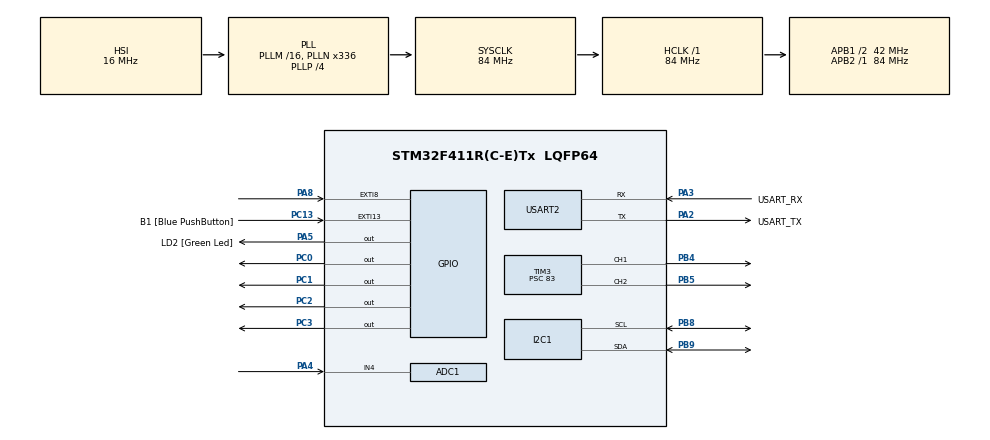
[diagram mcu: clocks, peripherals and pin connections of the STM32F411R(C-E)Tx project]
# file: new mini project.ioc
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ADC1.Channel-0\#ChannelRegularConversion=ADC_CHANNEL_4
ADC1.ClockPrescaler=ADC_CLOCK_SYNC_PCLK_DIV8
ADC1.NbrOfConversionFlag=1
ADC1.Rank-0\#ChannelRegularConversion=1
ADC1.SamplingTime-0\#ChannelRegularConversion=ADC_SAMPLETIME_144CYCLES
ADC1.master=1
FREERTOS.Tasks01=defaultTask,24,128,StartDefaultTask,Default,NULL,Dynamic,NULL,NULL;LcdTask,8,128,StartTask02,Default,NULL,Dynamic,NULL,NULL;ServoTask,24,128,StartTask03,Default,NULL,Dynamic,NULL,NULL
FREERTOS.configUSE_NEWLIB_REENTRANT=1
Mcu.Family=STM32F4
Mcu.Name=STM32F411R(C-E)Tx
Mcu.Package=LQFP64
NVIC.EXTI15_10_IRQn=true\:5\:0\:false\:false\:true\:true\:true\:true\:true
NVIC.EXTI9_5_IRQn=true\:5\:0\:false\:false\:true\:true\:true\:true\:true
NVIC.PriorityGroup=NVIC_PRIORITYGROUP_4
NVIC.TIM1_BRK_TIM9_IRQn=true\:15\:0\:false\:false\:true\:false\:false\:true\:true
NVIC.TIM4_IRQn=true\:5\:0\:false\:false\:true\:true\:true\:true\:true
NVIC.TimeBase=TIM1_BRK_TIM9_IRQn
NVIC.TimeBaseIP=TIM9
NVIC.USART2_IRQn=true\:5\:0\:false\:false\:true\:true\:true\:true\:true
PA13.GPIO_Label=TMS
PA13.Mode=Serial_Wire
PA13.Signal=SYS_JTMS-SWDIO
PA14.GPIO_Label=TCK
PA14.Mode=Serial_Wire
PA14.Signal=SYS_JTCK-SWCLK
PA2.GPIO_Label=USART_TX
PA2.Mode=Asynchronous
PA2.Signal=USART2_TX
PA3.GPIO_Label=USART_RX
PA3.Mode=Asynchronous
PA3.Signal=USART2_RX
PA4.Signal=ADCx_IN4
PA5.GPIO_Label=LD2 [Green Led]
PA5.Signal=GPIO_Output
PA8.Signal=GPXTI8
PB3.GPIO_Label=SWO
PB3.Signal=SYS_JTDO-SWO
PB4.Signal=S_TIM3_CH1
PB5.Signal=S_TIM3_CH2
PB8.Mode=I2C
PB8.Signal=I2C1_SCL
PB9.Mode=I2C
PB9.Signal=I2C1_SDA
PC0.Signal=GPIO_Output
PC1.Signal=GPIO_Output
PC13-ANTI_TAMP.GPIO_Label=B1 [Blue PushButton]
PC13-ANTI_TAMP.GPIO_ModeDefaultEXTI=GPIO_MODE_IT_FALLING
PC13-ANTI_TAMP.Signal=GPXTI13
PC14-OSC32_IN.Mode=LSE-External-Oscillator
PC14-OSC32_IN.Signal=RCC_OSC32_IN
PC15-OSC32_OUT.Mode=LSE-External-Oscillator
PC15-OSC32_OUT.Signal=RCC_OSC32_OUT
PC2.Signal=GPIO_Output
PC3.Signal=GPIO_Output
PH0\ -\ OSC_IN.Mode=HSE-External-Clock-Source
PH0\ -\ OSC_IN.Signal=RCC_OSC_IN
PH1\ -\ OSC_OUT.Mode=HSE-External-Clock-Source
PH1\ -\ OSC_OUT.Signal=RCC_OSC_OUT
ProjectManager.HeapSize=0x200
ProjectManager.StackSize=0x400
ProjectManager.TargetToolchain=STM32CubeIDE
RCC.48MHZClocksFreq_Value=84000000
RCC.AHBFreq_Value=84000000
RCC.APB1CLKDivider=RCC_HCLK_DIV2
RCC.APB1Freq_Value=42000000
RCC.APB1TimFreq_Value=84000000
RCC.APB2Freq_Value=84000000
RCC.APB2TimFreq_Value=84000000
RCC.CortexFreq_Value=84000000
RCC.FLatency-AdvancedSettings=FLASH_LATENCY_2
RCC.HCLKFreq_Value=84000000
RCC.HSE_VALUE=8000000
RCC.HSI_VALUE=16000000
RCC.PLLN=336
RCC.PLLP=RCC_PLLP_DIV4
RCC.SYSCLKFreq_VALUE=84000000
RCC.SYSCLKSource=RCC_SYSCLKSOURCE_PLLCLK
RCC.VCOOutputFreq_Value=336000000
SH.ADCx_IN4.0=ADC1_IN4,IN4
SH.S_TIM3_CH1.0=TIM3_CH1,PWM Generation1 CH1
SH.S_TIM3_CH2.0=TIM3_CH2,PWM Generation2 CH2
TIM3.Channel-PWM\ Generation1\ CH1=TIM_CHANNEL_1
TIM3.Channel-PWM\ Generation2\ CH2=TIM_CHANNEL_2
TIM3.Period=20000
TIM3.Prescaler=83
TIM3.Pulse-PWM\ Generation1\ CH1=1500
TIM3.Pulse-PWM\ Generation2\ CH2=1500
USART2.VirtualMode=VM_ASYNC
VP_FREERTOS_VS_CMSIS_V2.Mode=CMSIS_V2
VP_SYS_VS_tim9.Mode=TIM9
VP_TIM4_VS_ClockSourceINT.Mode=Internal
board=NUCLEO-F411RE

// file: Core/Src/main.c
/* USER CODE BEGIN Header */
/**
  ******************************************************************************
  * @file           : main.c
  * @brief          : Main program body (Rain mm integer display)
  ******************************************************************************
  */
/* USER CODE END Header */
#include "main.h"
#include "cmsis_os.h"

/* USER CODE BEGIN Includes */
#include "i2c-lcd.h"
#include <stdio.h>
#include <string.h>
/* USER CODE END Includes */

/* USER CODE BEGIN PD */
#define NORMAL_RAIN_MM    15.0f    // 보통 비(mm)
#define WARNING_RAIN_MM   34.0f    // 폭우 경고(mm)
#define SENSOR_MAX_MM     40.0f    // 빨간 수위센서 측정 최대 높이(mm)
#define IR_PIN GPIO_PIN_8
#define IR_PORT GPIOA
/* USER CODE END PD */

ADC_HandleTypeDef hadc1;
I2C_HandleTypeDef hi2c1;
TIM_HandleTypeDef htim3;
UART_HandleTypeDef huart2;
TIM_HandleTypeDef htim4;
/* FreeRTOS thread handles */
osThreadId_t lcdTaskHandle;
osThreadId_t servoTaskHandle;

/* USER CODE BEGIN PV */
float rain_mm = 0.0f;
float smooth_rain_mm = 0.0f;
char line1[17];
char line2[17];
int flood_counter = 0;
volatile uint8_t barrier_up = 0;    // 1 if barrier is raised, 0 if lowered
volatile uint8_t manual_mode = 0;   // 1 if IR manual override is active, 0 if in automatic mode
volatile uint8_t ir_ready = 0;
volatile uint32_t ir_timings[100];
volatile uint8_t ir_index = 0;
volatile uint32_t last_edge_time = 0;
volatile uint32_t last_ir_code = 0;
/* USER CODE END PV */

void SystemClock_Config(void);
static void MX_GPIO_Init(void);
static void MX_ADC1_Init(void);
static void MX_I2C1_Init(void);
static void MX_TIM3_Init(void);
static void MX_TIM4_Init(void);
static void MX_USART2_UART_Init(void);
void StartLcdTask(void *argument);
void StartWaterTask(void *argument);
void StartIrTask(void *argument);
uint32_t decode_nec_signal(void);
void set_servo_angle(uint8_t angle);
float read_rain_mm(void);
float read_smoothed_rain_mm(void);
void lcd_display_rain(const char* status);
/* USER CODE BEGIN 0 */
uint32_t decode_nec_signal()
{
    // NEC protocol requires ~68 timing edges (including leader and spaces)
       if (ir_index < 68 || ir_index > 100) {
           return 0xFFFFFFFF;
       }
       uint32_t data = 0;
       for (int i = 0; i < 32; i++) {
           uint32_t t = ir_timings[17 + i];
           // Logical 1: typically ~1.6-2.4 ms high pulse
           if (t > 1400) {
               data |= (1UL << (31 - i));
           }
           // Logical 0: typically ~0.5 ms high pulse
           else if (t > 200 && t <= 1400) {
               // bit remains 0 (do nothing)
           }
           // Timing out of range: error
           else {
               return 0xFFFFFFFF;
           }
       }
       return data;
}
/* 서보 각도 제어 */

void set_servo_angle(uint8_t angle) {
    uint32_t pulse = ((angle * 2000) / 180) + 500; // Map 0-180° to 500-2500us pulse
    __HAL_TIM_SET_COMPARE(&htim3, TIM_CHANNEL_1, pulse);
    __HAL_TIM_SET_COMPARE(&htim3, TIM_CHANNEL_2, pulse);
}

/* 센서 값 읽고 mm 변환 */

float read_rain_mm() {
    HAL_ADC_Start(&hadc1);
    HAL_ADC_PollForConversion(&hadc1, HAL_MAX_DELAY);
    uint16_t raw = HAL_ADC_GetValue(&hadc1);
    if (raw > 4000) raw = 4000;  // clamp to max expected ADC value
    return (raw / 4095.0f) * SENSOR_MAX_MM;
}
float read_smoothed_rain_mm() {
    float current = read_rain_mm();
    // 80% previous value + 20% new value for smoothing
    smooth_rain_mm = (smooth_rain_mm * 0.8f) + (current * 0.2f);
    return smooth_rain_mm;
}
/* LCD에 강수량 표시 (정수 버전) */
void lcd_display_rain(const char* status) {
    int rain_int = (int)rain_mm; // truncate to integer mm
    sprintf(line1, "Rain: %3d mm", rain_int);
    sprintf(line2, "Status: %s", status);
    lcd_put_cur(0, 0);
    lcd_send_string(line1);
    lcd_put_cur(1, 0);
    lcd_send_string(line2);
}

/* LCD Task */
void StartLcdTask(void *argument) {
  /* USER CODE BEGIN StartLcdTask */
  for (;;) {
    rain_mm = read_smoothed_rain_mm();
    if (rain_mm < NORMAL_RAIN_MM) {
        lcd_display_rain("NORMAL");
    } else if (rain_mm < WARNING_RAIN_MM) {
        lcd_display_rain("WARNING");
    } else {
        lcd_display_rain("!!FLOOD!!");
    }
    osDelay(1000);
  }
  /* USER CODE END StartLcdTask */
}

/* Servo Task */
void StartWaterTask(void *argument) {
  /* USER CODE BEGIN StartWaterTask */
  for (;;) {
    rain_mm = read_smoothed_rain_mm();

    if (!manual_mode) {
      // Automatic control active only when not in manual override
      if (rain_mm >= WARNING_RAIN_MM) {
        // Heavy rain: raise barrier if not already up
        if (!barrier_up) {
          set_servo_angle(90);           // raise barrier
          barrier_up = 1;
          // Activate flood indicators
          HAL_GPIO_WritePin(GPIOC, GPIO_PIN_2, GPIO_PIN_SET);   // Red LED ON
          HAL_GPIO_WritePin(GPIOC, GPIO_PIN_3, GPIO_PIN_SET);   // Buzzer ON
        }
      } else if (rain_mm < NORMAL_RAIN_MM) {
        // Light rain/normal: lower barrier if it was up
        if (barrier_up) {
          set_servo_angle(0);            // lower barrier
          barrier_up = 0;
          // Deactivate flood indicators
          HAL_GPIO_WritePin(GPIOC, GPIO_PIN_2, GPIO_PIN_RESET); // Red LED OFF
          HAL_GPIO_WritePin(GPIOC, GPIO_PIN_3, GPIO_PIN_RESET); // Buzzer OFF
        }
      }
      // (If rain is in between NORMAL_RAIN_MM and WARNING_RAIN_MM, barrier state remains as is.)
    }

    // Status LEDs for rain level (Green/Yellow).
    // If in manual mode with barrier up, override status LEDs to off (red LED indicates manual override/heavy state).
    if (manual_mode && barrier_up) {
      HAL_GPIO_WritePin(GPIOC, GPIO_PIN_0, GPIO_PIN_RESET); // Green OFF
      HAL_GPIO_WritePin(GPIOC, GPIO_PIN_1, GPIO_PIN_RESET); // Yellow OFF
    } else {
      if (rain_mm < NORMAL_RAIN_MM) {
        HAL_GPIO_WritePin(GPIOC, GPIO_PIN_0, GPIO_PIN_SET);    // Green ON (safe)
        HAL_GPIO_WritePin(GPIOC, GPIO_PIN_1, GPIO_PIN_RESET);  // Yellow OFF
      } else if (rain_mm < WARNING_RAIN_MM) {
        HAL_GPIO_WritePin(GPIOC, GPIO_PIN_0, GPIO_PIN_RESET);  // Green OFF
        HAL_GPIO_WritePin(GPIOC, GPIO_PIN_1, GPIO_PIN_SET);    // Yellow ON (warning)
      } else {
        HAL_GPIO_WritePin(GPIOC, GPIO_PIN_0, GPIO_PIN_RESET);  // Green OFF
        HAL_GPIO_WritePin(GPIOC, GPIO_PIN_1, GPIO_PIN_RESET);  // Yellow OFF (flood, red is handled above)
      }
    }

    osDelay(100);  // small delay for loop
  }
  /* USER CODE END StartWaterTask */
}

void StartIrTask(void *argument) {
  /* USER CODE BEGIN StartIrTask */
  for (;;) {
    if (ir_ready) {
      // An IR code has been captured by the interrupt
      ir_ready = 0;
      uint32_t code = decode_nec_signal();
      ir_index = 0;
      if (code != 0xFFFFFFFF && code != last_ir_code) {
        // New valid IR code received (filter out repeats)
        last_ir_code = code;
        if (!manual_mode) {
          manual_mode = 1;  // enter manual mode on first IR command
        }
        // Toggle barrier state on IR command
        if (!barrier_up) {
          // Barrier is currently down -> raise it via remote
          set_servo_angle(90);
          barrier_up = 1;
          // Turn off green/yellow, turn on red LED and buzzer for manual raise
          HAL_GPIO_WritePin(GPIOC, GPIO_PIN_0, GPIO_PIN_RESET); // Green OFF
          HAL_GPIO_WritePin(GPIOC, GPIO_PIN_1, GPIO_PIN_RESET); // Yellow OFF
          HAL_GPIO_WritePin(GPIOC, GPIO_PIN_2, GPIO_PIN_SET);   // Red ON
          HAL_GPIO_WritePin(GPIOC, GPIO_PIN_3, GPIO_PIN_SET);   // Buzzer ON
        } else {
          // Barrier is currently up -> lower it via remote
          set_servo_angle(0);
          barrier_up = 0;
          // Turn off red LED and buzzer for manual lower
          HAL_GPIO_WritePin(GPIOC, GPIO_PIN_2, GPIO_PIN_RESET); // Red OFF
          HAL_GPIO_WritePin(GPIOC, GPIO_PIN_3, GPIO_PIN_RESET); // Buzzer OFF
        }
        // If barrier has been lowered by remote, exit manual mode (return to automatic)
        if (barrier_up == 0) {
          manual_mode = 0;
        }
      }
    }
    osDelay(50);  // short polling delay
  }
  /* USER CODE END StartIrTask */
}
/* USER CODE END 0 */

/* Main function */
int main(void) {
    HAL_Init();
    SystemClock_Config();

    MX_GPIO_Init();
    MX_ADC1_Init();
    MX_I2C1_Init();
    MX_TIM3_Init();
    MX_TIM4_Init();
    MX_USART2_UART_Init();

    HAL_TIM_Base_Start(&htim4);

    lcd_init();
    HAL_TIM_PWM_Start(&htim3, TIM_CHANNEL_1);
    HAL_TIM_PWM_Start(&htim3, TIM_CHANNEL_2);

    osKernelInitialize();
    lcdTaskHandle   = osThreadNew(StartLcdTask, NULL, NULL);  // LCD task
    servoTaskHandle = osThreadNew(StartWaterTask, NULL, NULL); // 센서(자동) task
    osThreadNew(StartIrTask, NULL, NULL); // IR(수동) task 따로 등록
    osKernelStart();

    while (1) {}
}

  /* USER CODE END 3 */

void SystemClock_Config(void)
{
  RCC_OscInitTypeDef RCC_OscInitStruct = {0};
  RCC_ClkInitTypeDef RCC_ClkInitStruct = {0};

  /** Configure the main internal regulator output voltage
  */
  __HAL_RCC_PWR_CLK_ENABLE();
  __HAL_PWR_VOLTAGESCALING_CONFIG(PWR_REGULATOR_VOLTAGE_SCALE1);

  /** Initializes the RCC Oscillators according to the specified parameters
  * in the RCC_OscInitTypeDef structure.
  */
  RCC_OscInitStruct.OscillatorType = RCC_OSCILLATORTYPE_HSI;
  RCC_OscInitStruct.HSIState = RCC_HSI_ON;
  RCC_OscInitStruct.HSICalibrationValue = RCC_HSICALIBRATION_DEFAULT;
  RCC_OscInitStruct.PLL.PLLState = RCC_PLL_ON;
  RCC_OscInitStruct.PLL.PLLSource = RCC_PLLSOURCE_HSI;
  RCC_OscInitStruct.PLL.PLLM = 16;
  RCC_OscInitStruct.PLL.PLLN = 336;
  RCC_OscInitStruct.PLL.PLLP = RCC_PLLP_DIV4;
  RCC_OscInitStruct.PLL.PLLQ = 4;
  if (HAL_RCC_OscConfig(&RCC_OscInitStruct) != HAL_OK)
  {
    Error_Handler();
  }

  /** Initializes the CPU, AHB and APB buses clocks
  */
  RCC_ClkInitStruct.ClockType = RCC_CLOCKTYPE_HCLK|RCC_CLOCKTYPE_SYSCLK
                              |RCC_CLOCKTYPE_PCLK1|RCC_CLOCKTYPE_PCLK2;
  RCC_ClkInitStruct.SYSCLKSource = RCC_SYSCLKSOURCE_PLLCLK;
  RCC_ClkInitStruct.AHBCLKDivider = RCC_SYSCLK_DIV1;
  RCC_ClkInitStruct.APB1CLKDivider = RCC_HCLK_DIV2;
  RCC_ClkInitStruct.APB2CLKDivider = RCC_HCLK_DIV1;

  if (HAL_RCC_ClockConfig(&RCC_ClkInitStruct, FLASH_LATENCY_2) != HAL_OK)
  {
    Error_Handler();
  }
}

static void MX_ADC1_Init(void)
{

  ADC_ChannelConfTypeDef sConfig = {0};

  /** Configure the global features of the ADC (Clock, Resolution, Data Alignment and number of conversion)
  */
  hadc1.Instance = ADC1;
  hadc1.Init.ClockPrescaler = ADC_CLOCK_SYNC_PCLK_DIV4;
  hadc1.Init.Resolution = ADC_RESOLUTION_12B;
  hadc1.Init.ScanConvMode = DISABLE;
  hadc1.Init.ContinuousConvMode = DISABLE;
  hadc1.Init.DiscontinuousConvMode = DISABLE;
  hadc1.Init.ExternalTrigConvEdge = ADC_EXTERNALTRIGCONVEDGE_NONE;
  hadc1.Init.ExternalTrigConv = ADC_SOFTWARE_START;
  hadc1.Init.DataAlign = ADC_DATAALIGN_RIGHT;
  hadc1.Init.NbrOfConversion = 1;
  hadc1.Init.DMAContinuousRequests = DISABLE;
  hadc1.Init.EOCSelection = ADC_EOC_SINGLE_CONV;
  if (HAL_ADC_Init(&hadc1) != HAL_OK)
  {
    Error_Handler();
  }

  /** Configure for the selected ADC regular channel its corresponding rank in the sequencer and its sample time.
  */
  sConfig.Channel = ADC_CHANNEL_4;
  sConfig.Rank = 1;
  sConfig.SamplingTime = ADC_SAMPLETIME_3CYCLES;
  if (HAL_ADC_ConfigChannel(&hadc1, &sConfig) != HAL_OK)
  {
    Error_Handler();
  }

}

static void MX_I2C1_Init(void)
{

  hi2c1.Instance = I2C1;
  hi2c1.Init.ClockSpeed = 100000;
  hi2c1.Init.DutyCycle = I2C_DUTYCYCLE_2;
  hi2c1.Init.OwnAddress1 = 0;
  hi2c1.Init.AddressingMode = I2C_ADDRESSINGMODE_7BIT;
  hi2c1.Init.DualAddressMode = I2C_DUALADDRESS_DISABLE;
  hi2c1.Init.OwnAddress2 = 0;
  hi2c1.Init.GeneralCallMode = I2C_GENERALCALL_DISABLE;
  hi2c1.Init.NoStretchMode = I2C_NOSTRETCH_DISABLE;
  if (HAL_I2C_Init(&hi2c1) != HAL_OK)
  {
    Error_Handler();
  }

}

static void MX_TIM3_Init(void)
{

  TIM_MasterConfigTypeDef sMasterConfig = {0};
  TIM_OC_InitTypeDef sConfigOC = {0};

  htim3.Instance = TIM3;
  htim3.Init.Prescaler = 83;
  htim3.Init.CounterMode = TIM_COUNTERMODE_UP;
  htim3.Init.Period = 20000;
  htim3.Init.ClockDivision = TIM_CLOCKDIVISION_DIV1;
  htim3.Init.AutoReloadPreload = TIM_AUTORELOAD_PRELOAD_DISABLE;
  if (HAL_TIM_PWM_Init(&htim3) != HAL_OK)
  {
    Error_Handler();
  }
  sMasterConfig.MasterOutputTrigger = TIM_TRGO_RESET;
  sMasterConfig.MasterSlaveMode = TIM_MASTERSLAVEMODE_DISABLE;
  if (HAL_TIMEx_MasterConfigSynchronization(&htim3, &sMasterConfig) != HAL_OK)
  {
    Error_Handler();
  }
  sConfigOC.OCMode = TIM_OCMODE_PWM1;
  sConfigOC.Pulse = 1500;
  sConfigOC.OCPolarity = TIM_OCPOLARITY_HIGH;
  sConfigOC.OCFastMode = TIM_OCFAST_DISABLE;
  if (HAL_TIM_PWM_ConfigChannel(&htim3, &sConfigOC, TIM_CHANNEL_1) != HAL_OK)
  {
    Error_Handler();
  }
  if (HAL_TIM_PWM_ConfigChannel(&htim3, &sConfigOC, TIM_CHANNEL_2) != HAL_OK)
  {
    Error_Handler();
  }
  HAL_TIM_MspPostInit(&htim3);

}

static void MX_TIM4_Init(void)
{
    __HAL_RCC_TIM4_CLK_ENABLE();

    htim4.Instance = TIM4;
    htim4.Init.Prescaler = 83;
    htim4.Init.CounterMode = TIM_COUNTERMODE_UP;
    htim4.Init.Period = 0xFFFF;
    htim4.Init.ClockDivision = TIM_CLOCKDIVISION_DIV1;
    htim4.Init.AutoReloadPreload = TIM_AUTORELOAD_PRELOAD_DISABLE;
    if (HAL_TIM_Base_Init(&htim4) != HAL_OK)
    {
        Error_Handler();
    }
}
static void MX_USART2_UART_Init(void)
{

  huart2.Instance = USART2;
  huart2.Init.BaudRate = 115200;
  huart2.Init.WordLength = UART_WORDLENGTH_8B;
  huart2.Init.StopBits = UART_STOPBITS_1;
  huart2.Init.Parity = UART_PARITY_NONE;
  huart2.Init.Mode = UART_MODE_TX_RX;
  huart2.Init.HwFlowCtl = UART_HWCONTROL_NONE;
  huart2.Init.OverSampling = UART_OVERSAMPLING_16;
  if (HAL_UART_Init(&huart2) != HAL_OK)
  {
    Error_Handler();
  }

}

static void MX_GPIO_Init(void)
{
  GPIO_InitTypeDef GPIO_InitStruct = {0};

  /* GPIO Ports Clock Enable */
  __HAL_RCC_GPIOC_CLK_ENABLE();
  __HAL_RCC_GPIOH_CLK_ENABLE();
  __HAL_RCC_GPIOA_CLK_ENABLE();
  __HAL_RCC_GPIOB_CLK_ENABLE();

  /*Configure GPIO pin Output Level */
  HAL_GPIO_WritePin(GPIOC, GPIO_PIN_0|GPIO_PIN_1|GPIO_PIN_2|GPIO_PIN_3, GPIO_PIN_RESET);

  /*Configure GPIO pin Output Level */
  HAL_GPIO_WritePin(LD2_GPIO_Port, LD2_Pin, GPIO_PIN_RESET);

  /*Configure GPIO pin : B1_Pin */
  GPIO_InitStruct.Pin = B1_Pin;
  GPIO_InitStruct.Mode = GPIO_MODE_IT_FALLING;
  GPIO_InitStruct.Pull = GPIO_NOPULL;
  HAL_GPIO_Init(B1_GPIO_Port, &GPIO_InitStruct);

  /*Configure GPIO pins : PC0 PC1 PC2 PC3 */
  GPIO_InitStruct.Pin = GPIO_PIN_0|GPIO_PIN_1|GPIO_PIN_2|GPIO_PIN_3;
  GPIO_InitStruct.Mode = GPIO_MODE_OUTPUT_PP;
  GPIO_InitStruct.Pull = GPIO_NOPULL;
  GPIO_InitStruct.Speed = GPIO_SPEED_FREQ_LOW;
  HAL_GPIO_Init(GPIOC, &GPIO_InitStruct);

  /*Configure GPIO pin : LD2_Pin */
  GPIO_InitStruct.Pin = LD2_Pin;
  GPIO_InitStruct.Mode = GPIO_MODE_OUTPUT_PP;
  GPIO_InitStruct.Pull = GPIO_NOPULL;
  GPIO_InitStruct.Speed = GPIO_SPEED_FREQ_LOW;
  HAL_GPIO_Init(LD2_GPIO_Port, &GPIO_InitStruct);

  /* Configure IR Receiver Pin (PA8) as EXTI */
  GPIO_InitStruct.Pin = IR_PIN;
  GPIO_InitStruct.Mode = GPIO_MODE_IT_FALLING;
  GPIO_InitStruct.Pull = GPIO_PULLUP;  // 보통 IR 수신기 출력은 오픈컬렉터
  HAL_GPIO_Init(IR_PORT, &GPIO_InitStruct);

  HAL_NVIC_SetPriority(EXTI9_5_IRQn, 5, 0);
  HAL_NVIC_EnableIRQ(EXTI9_5_IRQn);
}

/* USER CODE BEGIN 4 */
void HAL_GPIO_EXTI_Callback(uint16_t GPIO_Pin) {
  /* USER CODE BEGIN HAL_GPIO_EXTI_Callback */
  if (GPIO_Pin == IR_PIN) {
    // IR receiver falling edge interrupt
    uint32_t now = __HAL_TIM_GET_COUNTER(&htim4);
    uint32_t duration = (now >= last_edge_time) ? (now - last_edge_time)
                                               : (0xFFFF - last_edge_time + now);
    last_edge_time = now;
    if (ir_index < 100) {
      ir_timings[ir_index++] = duration;
    }
    // If a full IR code (≈68 edges) is captured, signal readiness to decode
    if (ir_index >= 68) {
      ir_ready = 1;
    }
  }
  /* USER CODE END HAL_GPIO_EXTI_Callback */
}

/* USER CODE END 4 */

void StartDefaultTask(void *argument)
{
  for(;;)
  {
    osDelay(1);
  }
}

void StartTask02(void *argument)
{
  for(;;)
  {
    osDelay(1);
  }
}

void StartTask03(void *argument)
{
  for(;;)
  {
    osDelay(1);
  }
}

void HAL_TIM_PeriodElapsedCallback(TIM_HandleTypeDef *htim)
{
  if (htim->Instance == TIM9)
  {
    HAL_IncTick();
  }
}

void Error_Handler(void)
{
  __disable_irq();
  while (1)
  {
  }
}
